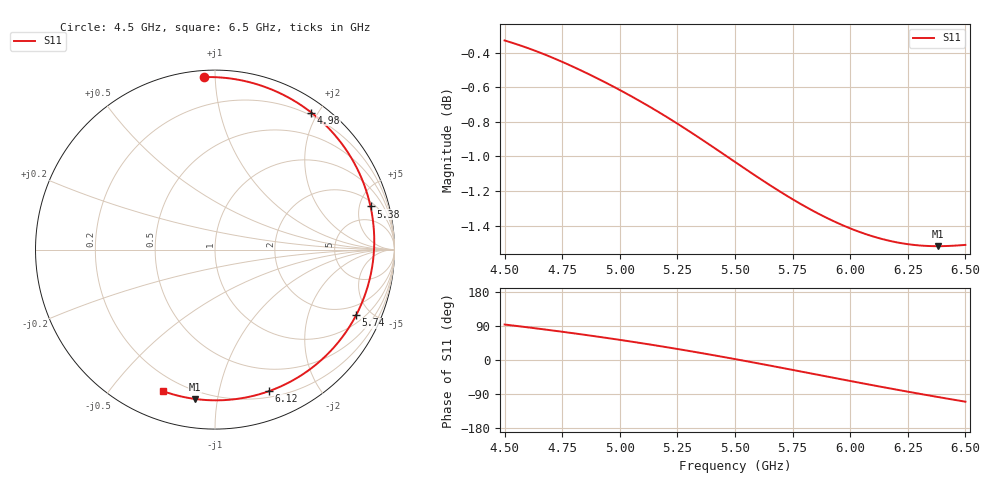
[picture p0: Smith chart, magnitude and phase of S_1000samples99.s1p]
! TOUCHSTONE file generated by CST MICROWAVE STUDIO
! Date and time: Thu Oct 27 00:00:56 2022
! Project name: L.cst
! Parameters = {Di=1.27; Epsilon_r=1.56; InnerDiameter=1.27; Length=2; Lf=10; Lg=60; OuterConductorThickness=0.2921; OuterDiameter=3.6; Wf=3; Wp=41.2; de=1.5; df=6.8; g=0.8; gx=4.64369; gy=2.95631; h=2.34; hf=1.524; px=10.271; py=10.219; w=9.7; wx=5.62733; wy=7.2627}
! Header version: 2018
! Port assignment regex: !\s*Touchstone port\s*([0-9]+)\s*=\s*(CST MWS port|CST DS port)\s*([0-9]+|Zmin|Zmax)\s*\(\"(.*)\"\)(\s*mode\s*([0-9]+))?.*
! Touchstone port assignment:
! Touchstone port 1 = CST MWS port 1 ("")
# GHz S DB R 50
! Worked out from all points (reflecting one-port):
!   101 points, 4.5 GHz to 6.5 GHz, reference 50 ohm
!   lowest |S11| = -1.5 dB at 6.38 GHz (marker M1), VSWR 11.46, Z = 7.67 - j43.2 ohm
!   phase of S11 starts at 94 deg and turns -204 deg over the sweep
!   S11 on the Smith chart (normalised r, x): 4.5 GHz: 0.04, +0.94; 4.98 GHz: 0.16, +1.91; 5.38 GHz: 2.54, +6.36; 5.74 GHz: 1.38, -4.07; 6.12 GHz: 0.26, -1.42; 6.5 GHz: 0.13, -0.69
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4.5  -0.33 93.6
4.64  -0.39 83.2
4.76  -0.46 73.7
4.88  -0.53 63.7
4.98  -0.60 54.9
5  -0.61 53.1
5.12  -0.70 41.9
5.2  -0.77 34.1
5.26  -0.82 28.0
5.38  -0.92 15.5
5.44  -0.98 9.0
5.5  -1.03 2.4
5.56  -1.09 -4.3
5.62  -1.14 -11.1
5.68  -1.19 -18.0
5.74  -1.24 -25.0
5.76  -1.26 -27.3
5.82  -1.30 -34.3
5.88  -1.34 -41.3
5.94  -1.38 -48.4
6  -1.42 -55.3
6.06  -1.45 -62.2
6.12  -1.47 -69.1
6.18  -1.49 -75.8
6.26  -1.51 -84.7
6.32  -1.52 -91.2
6.38  -1.52 -97.6
6.5  -1.51 -110.0
